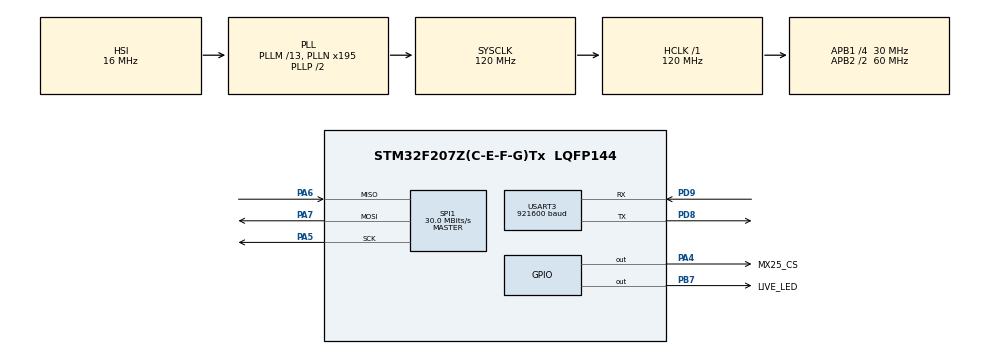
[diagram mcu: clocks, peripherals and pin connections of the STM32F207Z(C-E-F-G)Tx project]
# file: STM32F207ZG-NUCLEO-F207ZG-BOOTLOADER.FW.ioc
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Dma.Request0=USART3_RX
Dma.USART3_RX.0.Direction=DMA_PERIPH_TO_MEMORY
Dma.USART3_RX.0.FIFOMode=DMA_FIFOMODE_DISABLE
Dma.USART3_RX.0.Instance=DMA1_Stream1
Dma.USART3_RX.0.MemDataAlignment=DMA_MDATAALIGN_BYTE
Dma.USART3_RX.0.MemInc=DMA_MINC_ENABLE
Dma.USART3_RX.0.Mode=DMA_NORMAL
Dma.USART3_RX.0.PeriphDataAlignment=DMA_PDATAALIGN_BYTE
Dma.USART3_RX.0.PeriphInc=DMA_PINC_DISABLE
Dma.USART3_RX.0.Priority=DMA_PRIORITY_LOW
Mcu.Family=STM32F2
Mcu.Name=STM32F207Z(C-E-F-G)Tx
Mcu.Package=LQFP144
NVIC.DMA1_Stream1_IRQn=true\:0\:0\:false\:false\:true\:false\:true\:true
NVIC.PriorityGroup=NVIC_PRIORITYGROUP_4
PA13.Mode=Trace_Asynchronous_SW
PA13.Signal=SYS_JTMS-SWDIO
PA14.Mode=Trace_Asynchronous_SW
PA14.Signal=SYS_JTCK-SWCLK
PA4.GPIO_Label=MX25_CS
PA4.GPIO_PuPd=GPIO_PULLUP
PA4.PinState=GPIO_PIN_SET
PA4.Signal=GPIO_Output
PA5.Mode=Full_Duplex_Master
PA5.Signal=SPI1_SCK
PA6.Mode=Full_Duplex_Master
PA6.Signal=SPI1_MISO
PA7.Mode=Full_Duplex_Master
PA7.Signal=SPI1_MOSI
PB3.Mode=Trace_Asynchronous_SW
PB3.Signal=SYS_JTDO-SWO
PB7.GPIO_Label=LIVE_LED
PB7.Signal=GPIO_Output
PD5.Signal=USART2_TX
PD6.Signal=USART2_RX
PD8.Mode=Asynchronous
PD8.Signal=USART3_TX
PD9.Mode=Asynchronous
PD9.Signal=USART3_RX
PH0-OSC_IN.Mode=HSE-External-Oscillator
PH0-OSC_IN.Signal=RCC_OSC_IN
PH1-OSC_OUT.Mode=HSE-External-Oscillator
PH1-OSC_OUT.Signal=RCC_OSC_OUT
ProjectManager.HeapSize=0x200
ProjectManager.StackSize=0x400
ProjectManager.TargetToolchain=STM32CubeIDE
RCC.48MHZClocksFreq_Value=60000000
RCC.AHBFreq_Value=120000000
RCC.APB1CLKDivider=RCC_HCLK_DIV4
RCC.APB1Freq_Value=30000000
RCC.APB1TimFreq_Value=60000000
RCC.APB2CLKDivider=RCC_HCLK_DIV2
RCC.APB2Freq_Value=60000000
RCC.APB2TimFreq_Value=120000000
RCC.CortexFreq_Value=120000000
RCC.HCLKFreq_Value=120000000
RCC.HSE_VALUE=8000000
RCC.HSI_VALUE=16000000
RCC.LSE_VALUE=32768
RCC.PLLM=13
RCC.PLLN=195
RCC.SYSCLKFreq_VALUE=120000000
RCC.SYSCLKSource=RCC_SYSCLKSOURCE_PLLCLK
RCC.VCOOutputFreq_Value=240000000
SPI1.BaudRatePrescaler=SPI_BAUDRATEPRESCALER_2
SPI1.CalculateBaudRate=30.0 MBits/s
SPI1.Direction=SPI_DIRECTION_2LINES
SPI1.Mode=SPI_MODE_MASTER
SPI1.VirtualType=VM_MASTER
USART3.BaudRate=921600
USART3.VirtualMode=VM_ASYNC
board=custom

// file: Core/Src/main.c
/* USER CODE BEGIN Header */
/**
  ******************************************************************************
  * @file           : main.c
  * @brief          : Main program body
  ******************************************************************************
  * @attention
  *
  * <h2><center>&copy; Copyright (c) 2021 STMicroelectronics.
  * All rights reserved.</center></h2>
  *
  * This software component is licensed by ST under BSD 3-Clause license,
  * the "License"; You may not use this file except in compliance with the
  * License. You may obtain a copy of the License at:
  *                        opensource.org/licenses/BSD-3-Clause
  *
  ******************************************************************************
  */
/* USER CODE END Header */
#include "main.h"

/* USER CODE BEGIN Includes */
#include <stdio.h>
#include <string.h>
#include <stdlib.h>
#include "MX25L25673_stm_hal_spi.h"
/* USER CODE END Includes */

/* USER CODE BEGIN PTD */
typedef struct _AppTypeDef
{
  struct _Diag
  {
    uint32_t UsbUartErrorCnt;
    uint32_t UsbUartResponseCnt;
    uint32_t LastAddress;
  }Diag;
  uint64_t UpTimeSec;
  uint8_t IsDfuMode;
  uint8_t StartRestartFlag;
  uint8_t IntFlashCurrentSector;
  uint16_t FlashId;
  uint8_t AppStartDelayCnt;
}Device_t;

typedef void (*pFunction)(void);
/* USER CODE END PTD */

/* USER CODE BEGIN PD */
/*** STM32F207ZG ***/
#define APP_INT_FLASH_FIRST_SECTOR  6
#define APP_INT_FLASH_LAST_SECTOR   11
#define APP_INT_FLASH_ADDR          0x08040000        /*(0x08000000 + BTLDR_FLASH_SIZE)*/
#define APP_INT_FLASH_SIZE          0x100000-0x40000  /* 0xC0000-> 768kB */

#define BTLDR_FLASH_SIZE            0x40000 /*0x40000->256kB*/
#define BTLDR_DELAY_APP_START_SEC   4
#define BTLDR_RESET_DELAY_MS        500

#define EXT_FLASH_SIZE              0x02000000 //last address is 0x01FFFFFF
/* USER CODE END PD */

SPI_HandleTypeDef hspi1;

UART_HandleTypeDef huart3;
DMA_HandleTypeDef hdma_usart3_rx;

/* USER CODE BEGIN PV */
#define husb huart3
#define hextflash hspi1

LiveLED_HnadleTypeDef hLiveLed;
Device_t Device;
static char USB_UART_RxBuffer[USB_BUFFER_SIZE];
static char USB_UART_TxBuffer[USB_BUFFER_SIZE];
/* USER CODE END PV */

void SystemClock_Config(void);
static void MX_GPIO_Init(void);
static void MX_DMA_Init(void);
static void MX_USART3_UART_Init(void);
static void MX_SPI1_Init(void);
/* USER CODE BEGIN PFP */

/*** Usb ***/
void UsbParser(char *request);
void UsbRxTask(void);
void UsbTxTask(void);

/*** LiveLED ***/
void LiveLedOff(void);
void LiveLedOn(void);

/*** Tools ***/
void UpTimeTask(void);
uint8_t SpaceCount(char *str);
void StringArrayToBytes(char *str, uint8_t *data, uint16_t bsize);
void BytesToHexaString(uint8_t *data, char *dest, uint16_t bsize);
uint16_t CalcCrc16Ansi(uint16_t initValue, const void* address, size_t size);
void RestartTask(void);
void BootTask(void);

/*** Flash ***/
uint32_t FlashSectorErase(uint8_t start);
uint32_t FlashProgram(uint32_t address, uint8_t *data, uint16_t size);

/* USER CODE END PFP */

int main(void)
{

  /* MCU Configuration--------------------------------------------------------*/

  /* Reset of all peripherals, Initializes the Flash interface and the Systick. */
  HAL_Init();

  /* Configure the system clock */
  SystemClock_Config();

  /* Initialize all configured peripherals */
  MX_GPIO_Init();
  MX_DMA_Init();
  MX_USART3_UART_Init();
  MX_SPI1_Init();
  /* USER CODE BEGIN 2 */
  /*** LiveLed ***/
  hLiveLed.LedOffFnPtr = &LiveLedOff;
  hLiveLed.LedOnFnPtr = &LiveLedOn;
  hLiveLed.HalfPeriodTimeMs = 100;
  LiveLedInit(&hLiveLed);

  /*** Defaults ***/
  Device.IsDfuMode = 0;
  Device.AppStartDelayCnt = BTLDR_DELAY_APP_START_SEC;
  Device.IntFlashCurrentSector = APP_INT_FLASH_FIRST_SECTOR;

  Mx25Init(&hextflash);
  Mx25ReadId(&Device.FlashId);

  /* USER CODE END 2 */

  /* Infinite loop */
  /* USER CODE BEGIN WHILE */
  while (1)
  {
    LiveLedTask(&hLiveLed);
    UpTimeTask();
    RestartTask();
    BootTask();
    UsbRxTask();
    UsbTxTask();
    /* USER CODE END WHILE */

  }
}

void SystemClock_Config(void)
{
  RCC_OscInitTypeDef RCC_OscInitStruct = {0};
  RCC_ClkInitTypeDef RCC_ClkInitStruct = {0};

  /** Initializes the RCC Oscillators according to the specified parameters
  * in the RCC_OscInitTypeDef structure.
  */
  RCC_OscInitStruct.OscillatorType = RCC_OSCILLATORTYPE_HSI;
  RCC_OscInitStruct.HSIState = RCC_HSI_ON;
  RCC_OscInitStruct.HSICalibrationValue = RCC_HSICALIBRATION_DEFAULT;
  RCC_OscInitStruct.PLL.PLLState = RCC_PLL_ON;
  RCC_OscInitStruct.PLL.PLLSource = RCC_PLLSOURCE_HSI;
  RCC_OscInitStruct.PLL.PLLM = 13;
  RCC_OscInitStruct.PLL.PLLN = 195;
  RCC_OscInitStruct.PLL.PLLP = RCC_PLLP_DIV2;
  RCC_OscInitStruct.PLL.PLLQ = 4;
  if (HAL_RCC_OscConfig(&RCC_OscInitStruct) != HAL_OK)
  {
    Error_Handler();
  }

  /** Initializes the CPU, AHB and APB buses clocks
  */
  RCC_ClkInitStruct.ClockType = RCC_CLOCKTYPE_HCLK|RCC_CLOCKTYPE_SYSCLK
                              |RCC_CLOCKTYPE_PCLK1|RCC_CLOCKTYPE_PCLK2;
  RCC_ClkInitStruct.SYSCLKSource = RCC_SYSCLKSOURCE_PLLCLK;
  RCC_ClkInitStruct.AHBCLKDivider = RCC_SYSCLK_DIV1;
  RCC_ClkInitStruct.APB1CLKDivider = RCC_HCLK_DIV4;
  RCC_ClkInitStruct.APB2CLKDivider = RCC_HCLK_DIV2;

  if (HAL_RCC_ClockConfig(&RCC_ClkInitStruct, FLASH_LATENCY_3) != HAL_OK)
  {
    Error_Handler();
  }
}

static void MX_SPI1_Init(void)
{

  /* SPI1 parameter configuration*/
  hspi1.Instance = SPI1;
  hspi1.Init.Mode = SPI_MODE_MASTER;
  hspi1.Init.Direction = SPI_DIRECTION_2LINES;
  hspi1.Init.DataSize = SPI_DATASIZE_8BIT;
  hspi1.Init.CLKPolarity = SPI_POLARITY_LOW;
  hspi1.Init.CLKPhase = SPI_PHASE_1EDGE;
  hspi1.Init.NSS = SPI_NSS_SOFT;
  hspi1.Init.BaudRatePrescaler = SPI_BAUDRATEPRESCALER_2;
  hspi1.Init.FirstBit = SPI_FIRSTBIT_MSB;
  hspi1.Init.TIMode = SPI_TIMODE_DISABLE;
  hspi1.Init.CRCCalculation = SPI_CRCCALCULATION_DISABLE;
  hspi1.Init.CRCPolynomial = 10;
  if (HAL_SPI_Init(&hspi1) != HAL_OK)
  {
    Error_Handler();
  }

}

static void MX_USART3_UART_Init(void)
{

  huart3.Instance = USART3;
  huart3.Init.BaudRate = 921600;
  huart3.Init.WordLength = UART_WORDLENGTH_8B;
  huart3.Init.StopBits = UART_STOPBITS_1;
  huart3.Init.Parity = UART_PARITY_NONE;
  huart3.Init.Mode = UART_MODE_TX_RX;
  huart3.Init.HwFlowCtl = UART_HWCONTROL_NONE;
  huart3.Init.OverSampling = UART_OVERSAMPLING_16;
  if (HAL_UART_Init(&huart3) != HAL_OK)
  {
    Error_Handler();
  }
  /* USER CODE BEGIN USART3_Init 2 */
  HAL_UART_Receive_DMA (&husb, (uint8_t*)USB_UART_RxBuffer, sizeof(USB_UART_RxBuffer));
  /* USER CODE END USART3_Init 2 */

}

static void MX_DMA_Init(void)
{

  /* DMA controller clock enable */
  __HAL_RCC_DMA1_CLK_ENABLE();

  /* DMA interrupt init */
  /* DMA1_Stream1_IRQn interrupt configuration */
  HAL_NVIC_SetPriority(DMA1_Stream1_IRQn, 0, 0);
  HAL_NVIC_EnableIRQ(DMA1_Stream1_IRQn);

}

static void MX_GPIO_Init(void)
{
  GPIO_InitTypeDef GPIO_InitStruct = {0};

  /* GPIO Ports Clock Enable */
  __HAL_RCC_GPIOH_CLK_ENABLE();
  __HAL_RCC_GPIOA_CLK_ENABLE();
  __HAL_RCC_GPIOD_CLK_ENABLE();
  __HAL_RCC_GPIOB_CLK_ENABLE();

  /*Configure GPIO pin Output Level */
  HAL_GPIO_WritePin(MX25_CS_GPIO_Port, MX25_CS_Pin, GPIO_PIN_SET);

  /*Configure GPIO pin Output Level */
  HAL_GPIO_WritePin(LIVE_LED_GPIO_Port, LIVE_LED_Pin, GPIO_PIN_RESET);

  /*Configure GPIO pin : MX25_CS_Pin */
  GPIO_InitStruct.Pin = MX25_CS_Pin;
  GPIO_InitStruct.Mode = GPIO_MODE_OUTPUT_PP;
  GPIO_InitStruct.Pull = GPIO_PULLUP;
  GPIO_InitStruct.Speed = GPIO_SPEED_FREQ_LOW;
  HAL_GPIO_Init(MX25_CS_GPIO_Port, &GPIO_InitStruct);

  /*Configure GPIO pins : PD5 PD6 */
  GPIO_InitStruct.Pin = GPIO_PIN_5|GPIO_PIN_6;
  GPIO_InitStruct.Mode = GPIO_MODE_AF_PP;
  GPIO_InitStruct.Pull = GPIO_NOPULL;
  GPIO_InitStruct.Speed = GPIO_SPEED_FREQ_VERY_HIGH;
  GPIO_InitStruct.Alternate = GPIO_AF7_USART2;
  HAL_GPIO_Init(GPIOD, &GPIO_InitStruct);

  /*Configure GPIO pin : LIVE_LED_Pin */
  GPIO_InitStruct.Pin = LIVE_LED_Pin;
  GPIO_InitStruct.Mode = GPIO_MODE_OUTPUT_PP;
  GPIO_InitStruct.Pull = GPIO_NOPULL;
  GPIO_InitStruct.Speed = GPIO_SPEED_FREQ_LOW;
  HAL_GPIO_Init(LIVE_LED_GPIO_Port, &GPIO_InitStruct);

}

/* USER CODE BEGIN 4 */
/* Usb------------------------------------------------------------------------*/
void UsbRxTask(void)
{
  static uint32_t timestamp;
  static uint8_t startFlag;

  if(strlen(USB_UART_RxBuffer)!=0)
  {
    if(!startFlag)
    {
      timestamp = HAL_GetTick();
      startFlag = 1;
    }
    for(uint16_t i=0; i < sizeof(USB_UART_RxBuffer); i++)
    {
      if(USB_UART_RxBuffer[i]=='\n')
      {
        USB_UART_RxBuffer[i] = 0;
        startFlag = 0;
        HAL_UART_DMAStop(&husb);
        UsbParser(USB_UART_RxBuffer);
        memset(USB_UART_RxBuffer, 0x00, sizeof(USB_UART_RxBuffer));
        HAL_UART_Receive_DMA(&husb, (uint8_t*) USB_UART_RxBuffer, sizeof(USB_UART_RxBuffer));
        break;
      }
    }
    if(startFlag)
    {
      if(HAL_GetTick() - timestamp > 500)
      {
        if(__HAL_UART_GET_FLAG(&husb, UART_FLAG_ORE))
          __HAL_UART_CLEAR_FLAG(&husb,UART_FLAG_ORE);
        if(__HAL_UART_GET_FLAG(&husb, USART_SR_NE))
          __HAL_UART_CLEAR_FLAG(&husb,USART_SR_NE);
        if(__HAL_UART_GET_FLAG(&husb, USART_SR_FE))
          __HAL_UART_CLEAR_FLAG(&husb,USART_SR_FE);
        startFlag = 0;
        HAL_UART_DMAStop(&husb);
        memset(USB_UART_RxBuffer, 0x00, sizeof(USB_UART_RxBuffer));
        HAL_UART_Receive_DMA(&husb, (uint8_t*) USB_UART_RxBuffer, sizeof(USB_UART_RxBuffer));
        Device.Diag.UsbUartErrorCnt ++;
      }
    }
  }
}
void UsbTxTask(void)
{
  uint16_t len = strlen(USB_UART_TxBuffer);
  if(len != 0)
  {
    Device.Diag.UsbUartResponseCnt++;
    HAL_UART_Transmit(&husb, (uint8_t*) USB_UART_TxBuffer, len, 100);
    USB_UART_TxBuffer[0] = 0;
  }
}

void UsbParser(char *request)
{
  static char cmd[USB_CMD_LENGTH];
  static char arg1[USB_ARG1_LENGTH];
  static char arg2[USB_ARG2_LENGTH];
  static char arg3[USB_ARG3_LENGTH];
  static char arg4[USB_ARG4_LENGTH];
  static char arg5[USB_ARG4_LENGTH];
  static uint8_t data[256];

  memset(cmd,0x00, sizeof(cmd));
  memset(arg1,0x00, sizeof(arg1));
  memset(arg2,0x00, sizeof(arg2));
  memset(arg3,0x00, sizeof(arg3));
  memset(arg4,0x00, sizeof(arg4));
  memset(data, 0, sizeof(data));

  if(strlen(USB_UART_RxBuffer) !=0)
  {
    memset(USB_UART_TxBuffer, 0x00, sizeof(USB_UART_TxBuffer));
    sscanf(request, "%s", cmd);

    /*** parameterless commands ***/
    if(!strcmp(cmd, "*OPC?"))
    {
      strcpy(USB_UART_TxBuffer, "*OPC");
    }
    else if(!strcmp(cmd, "*RDY?"))
    {
      strcpy(USB_UART_TxBuffer, "*RDY");
    }
    else if(!strcmp(cmd, "*WHOIS?"))
    {
      strcpy(USB_UART_TxBuffer, DEVICE_NAME); //TESTED
    }
    else if(!strcmp(cmd, "*VER?"))
    {
      strcpy(USB_UART_TxBuffer, DEVICE_FW); //TESTED
    }
    else if(!strcmp(cmd, "*UID?"))
    {
      sprintf(USB_UART_TxBuffer, "%4lX%4lX%4lX",HAL_GetUIDw0(), HAL_GetUIDw1(), HAL_GetUIDw2());
    }
    else if(!strcmp(cmd,"UPTIME?"))
    {
      sprintf(USB_UART_TxBuffer, "%lld", Device.UpTimeSec);
    }
    else if(!strcmp(cmd,"RST"))
    {
      Device.StartRestartFlag = 1;
      strcpy(USB_UART_TxBuffer, "OK");
    }
    else if(!strcmp(cmd,"DFU"))
    {
      Device.IsDfuMode = 1;
      strcpy(USB_UART_TxBuffer, "OK");
    }
    else if(!strcmp(cmd, "FL"))
    {/*** Flash Lock ***/
      sscanf(request, "%s %s", cmd, arg1);
      if(arg1[0]=='I')
      {
         if(HAL_FLASH_Lock() != HAL_OK)
           strcpy(USB_UART_TxBuffer, "!INT LOCK ERROR");
         else
           strcpy(USB_UART_TxBuffer, "OK");
      }
      else if(arg1[0]=='E')
      {
        strcpy(USB_UART_TxBuffer, "NOT SUPPORTED");
      }
    }
    else if(!strcmp(cmd, "FU"))
    {/*** Flash Unlock ***/
      sscanf(request, "%s %s", cmd, arg1);
      if(arg1[0]=='I')
      {
        __HAL_FLASH_CLEAR_FLAG(FLASH_FLAG_EOP);
        __HAL_FLASH_CLEAR_FLAG(FLASH_FLAG_OPERR);
        __HAL_FLASH_CLEAR_FLAG(FLASH_FLAG_WRPERR);
        __HAL_FLASH_CLEAR_FLAG(FLASH_FLAG_PGAERR);
        __HAL_FLASH_CLEAR_FLAG(FLASH_FLAG_PGPERR);
        __HAL_FLASH_CLEAR_FLAG(FLASH_FLAG_PGSERR);
        if(HAL_FLASH_Unlock() != HAL_OK)
          strcpy(USB_UART_TxBuffer, "!INT FLASH UNLOCK ERROR");
        else
          strcpy(USB_UART_TxBuffer, "OK");
      }
      else if(arg1[0]=='E')
      {
        strcpy(USB_UART_TxBuffer, "NOT SUPPORTED");
      }
    }
    else if(!strcmp(cmd, "FE")) //cmd where
    {/*** Flash Erase ***/
      sscanf(request, "%s %s", cmd, arg1);
      if(arg1[0]=='I')
      {
        uint32_t erase_status = FlashSectorErase(Device.IntFlashCurrentSector);
        if(erase_status == 0xFFFFFFFF)
        {
          sprintf(USB_UART_TxBuffer,"%d", Device.IntFlashCurrentSector);
          if(Device.IntFlashCurrentSector >= APP_INT_FLASH_LAST_SECTOR)
          {
            Device.IntFlashCurrentSector = APP_INT_FLASH_FIRST_SECTOR;
            strcpy(USB_UART_TxBuffer, "OK");
          }
          else
          {
            Device.IntFlashCurrentSector ++;
          }
        }
        else
        {
          Device.IntFlashCurrentSector = APP_INT_FLASH_FIRST_SECTOR;
          printf(USB_UART_TxBuffer,"INT FLASH ERASE ERROR: %08lX!", erase_status);
        }
      }
      else if(arg1[0]=='E')
      {
        sscanf(request, "%s %s %s", cmd, arg1, arg2);

        uint32_t address = strtol(arg2, NULL, 16);
        if(address < EXT_FLASH_SIZE - 1)
        {
          uint8_t chip_status = Mx25Erase64kBlock(address);
          if(chip_status == MX25_OK)
            strcpy(USB_UART_TxBuffer,"OK");
          else
            sprintf(USB_UART_TxBuffer,"!ERASE ERROR: %hhX", chip_status);
        }
        else
        {
          strcpy(USB_UART_TxBuffer,"ERROR: YOU TRY TO ERASE OUT OF EXT FLASH AREA!");
        }
      }
    }
    else if(!strcmp(cmd, "FR")) //cmd ext/int addr size
    {/*** Flash Read ***/
      sscanf(request, "%s %s %s %s", cmd, arg1, arg2, arg3);
      uint32_t address = strtol(arg2, NULL, 16);
      uint16_t bsize = strtol(arg3, NULL, 16);
      if(bsize > 256)
        strcpy(USB_UART_TxBuffer, "!SIZE ERROR");
      if(arg1[0]=='E')
      {
        Mx25Read(address, data, bsize);
      }
      else if (arg1[0]=='I')
      {
        for(uint16_t i = 0; i < bsize; i++)
          data[i] = *(__IO uint8_t*)(APP_INT_FLASH_ADDR + address + i);
      }
      else
      {
        strcpy(USB_UART_TxBuffer, "!ADDRESS ERROR");
      }
      uint16_t crc = CalcCrc16Ansi(0, data, bsize);
      memset(arg3, 0, sizeof(arg3));
      BytesToHexaString(data, arg3, bsize);
      sprintf(USB_UART_TxBuffer,"%08lX %02X %s %04X", address, bsize, arg3, crc ); //addr size data crc
    }
    else if(!strcmp(cmd, "FW"))
    {/*** Flash Write ***/
      sscanf(request, "%s %s %s %s %s %s", cmd, arg1, arg2, arg3, arg4, arg5); //cmd ext/int addr bsize data crc
      uint32_t status = 0;
      uint32_t address = strtol(arg2, NULL, 16);
      Device.Diag.LastAddress = address;
      uint16_t bsize = strtol(arg3, NULL, 16);
      uint16_t crc = strtol(arg5, NULL, 16);
      if(strlen(arg4) != bsize * 2) //e.g: 010203 -> bsize = 3
      {
        strcpy(USB_UART_TxBuffer, "ERROR: RECEIVED DATA SIZE IS INVALID!"); //TESTED
      }
      else
      {
        StringArrayToBytes(arg4, data, bsize);
        uint16_t clacCrc = CalcCrc16Ansi(0, data, bsize);
        if(crc != clacCrc)
        {
          strcpy(USB_UART_TxBuffer, "ERROR: RECEIVED DATA HAS INVALID CRC!"); //TESTED
        }
        else
        {
          if(arg1[0]=='E')
          {
            if(address + bsize > EXT_FLASH_SIZE - 1)
            {
              strcpy(USB_UART_TxBuffer, "ERROR: YOU TRY TO WRITE OUT OF EXT FLASH AREA!"); //TESTED
            }
            else
            {
              status = Mx25PageProgram(address, data, bsize);
              if(status == MX25_TIMEOUT_ERROR)
                strcpy(USB_UART_TxBuffer, "ERROR: TIMEOUT ERROR!");
              else if (status == MX25_NOT_ALIGNED)
                strcpy(USB_UART_TxBuffer, "ERROR: NOT ALIGNED!"); //TESTED
              else if(status == MX25_NOT_WRITE_ENALBE)
                strcpy(USB_UART_TxBuffer, "ERROR: NOT WRITE ENABLE!");
              else
                strcpy(USB_UART_TxBuffer, "OK");
            }
          }
          else if(arg1[0]=='I')
          {
            if(address + bsize > APP_INT_FLASH_SIZE - 1)
            {
              strcpy(USB_UART_TxBuffer, "ERROR: YOU TRY TO WRITE OUT OF APP FLASH AREA!"); //TESTED
            }
            else
            {
              status = FlashProgram(address + APP_INT_FLASH_ADDR, data, bsize);
              if(status != HAL_FLASH_ERROR_NONE)
                sprintf(USB_UART_TxBuffer, "%s %08lX", "!INT PROG ERROR", status);
              else
                strcpy(USB_UART_TxBuffer, "OK");
            }
          }
        }
      }
    }
    else
    {
      strcpy(USB_UART_TxBuffer, "!UNKNOWN");
    }
  }
    strcat(USB_UART_TxBuffer,"\n");
}

void BootTask(void)
{
  static uint32_t timestamp = 0;

  if( HAL_GetTick() - timestamp > 1000 && !Device.IsDfuMode)
  {
    timestamp = HAL_GetTick();
    Device.AppStartDelayCnt--;
    if(!Device.AppStartDelayCnt)
    {
      if (((*(__IO uint32_t*)APP_INT_FLASH_ADDR) & 0x2FFE0000 ) == 0x20000000)
      {
        //IWatchdogDeInit();
        HAL_DeInit();
        HAL_UART_MspDeInit(&husb);
        HAL_SPI_MspDeInit(&hextflash);
        HAL_RCC_DeInit();
        SysTick->CTRL = 0;    //Disable Systick

        /* application stack pointer (1st entry in the app vector table) */
        uint32_t appAddress = *(__IO uint32_t*) (APP_INT_FLASH_ADDR + 4);
        /*app entry point (2nd entry in the app vector table*/
        pFunction pApp = (pFunction) appAddress;

        __set_MSP(*(__IO uint32_t*) APP_INT_FLASH_ADDR);
        pApp();
      }
      else
      {
        Device.AppStartDelayCnt = BTLDR_DELAY_APP_START_SEC;
      }
    }
  }
}

/* Tools----------------------------------------------------------------------*/
void StringArrayToBytes(char *str, uint8_t *data, uint16_t bsize)
{
  memset(data, 0, bsize);
  uint8_t byteIndex = 0;
  for(uint16_t i = 0; i < bsize*2; i+=2)
  {
    char sb[2] = {0,0};
    sb[0] = str[i];
    sb[1] = str[i+1];
    data[byteIndex++] = strtol(sb, NULL, 16);
  }
}

void BytesToHexaString(uint8_t *data, char *dest, uint16_t bsize)
{
  if(bsize)
    for(uint16_t i = 0; i < bsize; i++)
        sprintf((dest + (i * 2)),"%02X", *(data + i));
  else
    dest[0] = 0;
}

void UpTimeTask(void)
{
  static uint32_t timestamp;
  if(HAL_GetTick() - timestamp > 1000)
  {
    timestamp = HAL_GetTick();
    Device.UpTimeSec++;
  }
}

uint16_t CalcCrc16Ansi(uint16_t initValue, const void* address, size_t size)
{
  uint16_t remainder = initValue;
  uint16_t polynomial = 0x8005;
  uint8_t *_address = (uint8_t*)address;

  for (size_t i = 0; i < size; ++i)
  {
    remainder ^= (_address[i] << 8);
    for (uint8_t bit = 8; bit > 0; --bit)
    {
      if (remainder & 0x8000)
        remainder = (remainder << 1) ^ polynomial;
      else
        remainder = (remainder << 1);
    }
  }
  return (remainder);
}

void RestartTask(void)
{
  static uint32_t timestamp;

  if(Device.StartRestartFlag)
  {
    if(HAL_GetTick() - timestamp > BTLDR_RESET_DELAY_MS)
    {
      NVIC_SystemReset();
    }
  }
  else
  {
    timestamp = HAL_GetTick();
  }
}

/* LEDs ---------------------------------------------------------------------*/
void LiveLedOn(void)
{
  HAL_GPIO_WritePin(LIVE_LED_GPIO_Port, LIVE_LED_Pin, GPIO_PIN_SET);
}

void LiveLedOff(void)
{
  HAL_GPIO_WritePin(LIVE_LED_GPIO_Port, LIVE_LED_Pin, GPIO_PIN_RESET);
}

/* Flash ---------------------------------------------------------------------*/
uint32_t FlashSectorErase(uint8_t sector)
{
  /*
   * If there was no flash unlock, than that is not error.
   */
  uint32_t sectorError = 0x0;
  FLASH_EraseInitTypeDef hEraseInit;
  hEraseInit.TypeErase = FLASH_TYPEERASE_SECTORS;
  hEraseInit.Sector = sector;
  hEraseInit.NbSectors = 1;
  hEraseInit.VoltageRange = FLASH_VOLTAGE_RANGE_3;
  HAL_FLASHEx_Erase(&hEraseInit, &sectorError);
  return sectorError;
}

uint32_t FlashProgram(uint32_t address, uint8_t *data, uint16_t size)
{
  HAL_StatusTypeDef status = HAL_OK;
  for(uint16_t i = 0; i< size; i++ )
  {
    status = HAL_FLASH_Program(FLASH_TYPEPROGRAM_BYTE, address + i, data[i]);
    if(status != HAL_OK)
      return HAL_FLASH_GetError();
  }
  return HAL_FLASH_ERROR_NONE;
}

/* USER CODE END 4 */

void Error_Handler(void)
{
  __disable_irq();
  while (1)
  {
  }
}
